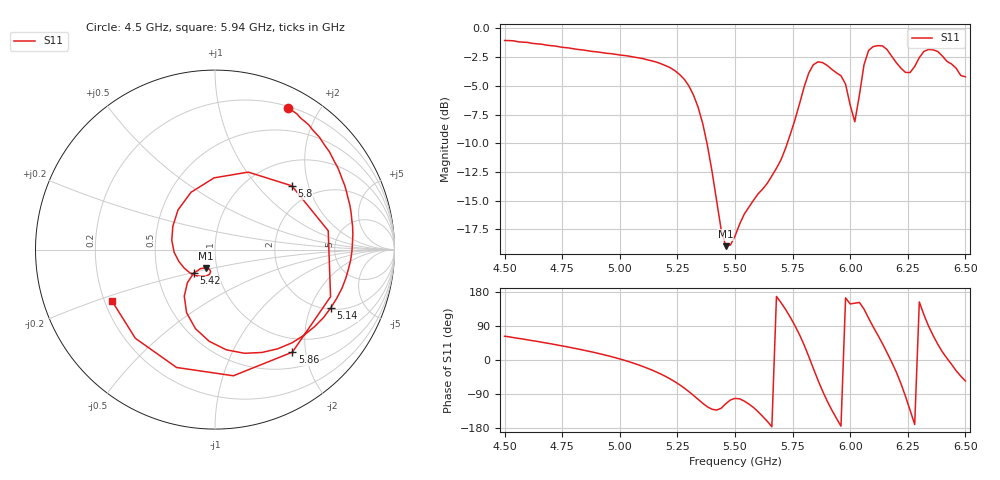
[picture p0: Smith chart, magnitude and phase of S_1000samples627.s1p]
! TOUCHSTONE file generated by CST MICROWAVE STUDIO
! Date and time: Fri Oct 28 19:54:58 2022
! Project name: L.cst
! Parameters = {Di=1.27; Epsilon_r=1.56; InnerDiameter=1.27; Length=2; Lf=10; Lg=60; OuterConductorThickness=0.2921; OuterDiameter=3.6; Wf=3; Wp=41.2; de=1.5; df=6.8; g=0.8; gx=1.01429; gy=1.22894; h=2.34; hf=1.524; px=8.31621; py=13.5558; w=9.7; wx=7.30192; wy=12.3268}
! Header version: 2018
! Port assignment regex: !\s*Touchstone port\s*([0-9]+)\s*=\s*(CST MWS port|CST DS port)\s*([0-9]+|Zmin|Zmax)\s*\(\"(.*)\"\)(\s*mode\s*([0-9]+))?.*
! Touchstone port assignment:
! Touchstone port 1 = CST MWS port 1 ("")
# GHz S DB R 50
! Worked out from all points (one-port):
!   101 points, 4.5 GHz to 6.5 GHz, reference 50 ohm
!   lowest |S11| = -19.0 dB at 5.46 GHz (marker M1), VSWR 1.25, Z = 44.5 - j9.18 ohm
!   |S11| at or under -10 dB: 5.378 GHz to 5.727 GHz (348.4 MHz wide, 6.27 % of centre)
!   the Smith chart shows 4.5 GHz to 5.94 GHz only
!   S11 on the Smith chart (normalised r, x): 4.5 GHz: 0.22, +1.62; 5.14 GHz: 2.07, -2.81; 5.42 GHz: 0.76, -0.21; 5.8 GHz: 1.52, +1.57; 5.86 GHz: 0.75, -1.76; 5.94 GHz: 0.23, -0.22
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4.5  -1.04 62.7
4.76  -1.66 36.1
5  -2.31 2.8
5.14  -2.82 -26.6
5.26  -4.02 -65.5
5.36  -8.28 -114.3
5.42  -14.97 -132.1
5.46  -18.96 -115.4
5.5  -18.08 -101.2
5.68  -12.17 167.7
5.76  -7.97 90.8
5.8  -5.09 39.7
5.84  -3.16 -22.2
5.86  -2.91 -53.0
5.9  -3.21 -108.1
5.94  -3.86 -153.5
6  -6.68 147.9
6.04  -5.80 151.8
6.06  -3.16 134.3
6.1  -1.57 87.2
6.16  -1.84 19.3
6.18  -2.41 -5.4
6.22  -3.45 -61.8
6.26  -3.83 -132.7
6.3  -2.53 153.3
6.34  -1.83 89.7
6.4  -2.40 21.5
6.5  -4.20 -55.3
